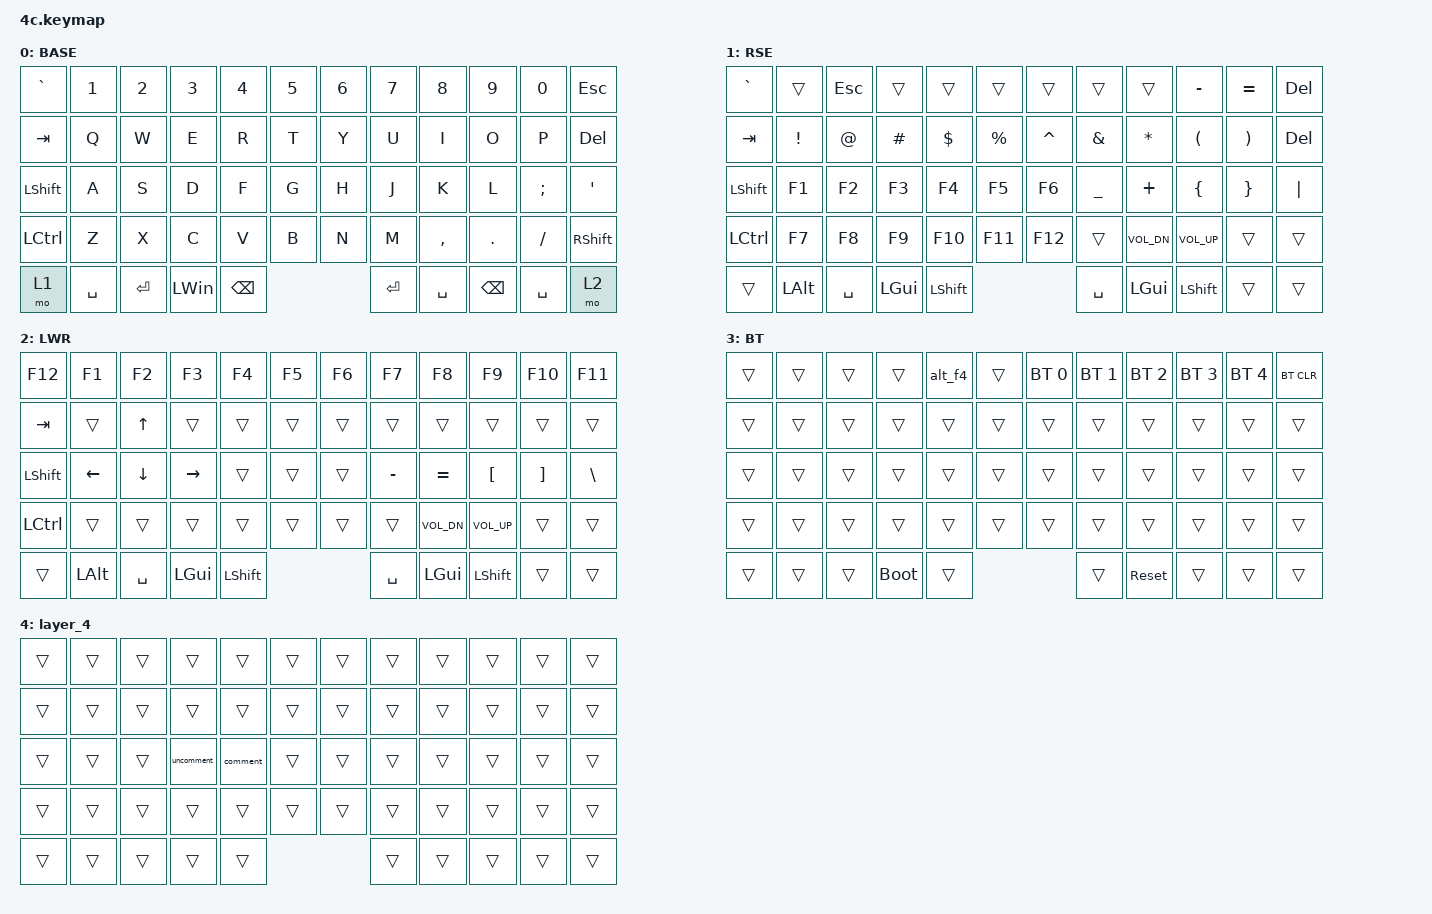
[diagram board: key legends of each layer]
/*
 * Copyright (c) 2020 The ZMK Contributors
 *
 * SPDX-License-Identifier: MIT
 */
/* THIS FILE WAS GENERATED!
 *
 * This file was generated automatically. You may or may not want to
 * edit it directly.
 */

#include <behaviors.dtsi>
#include <dt-bindings/zmk/bt.h>
#include <dt-bindings/zmk/keys.h>

/ {
    combos {
        compatible = "zmk,combos";

        btMo {
            bindings = <&mo 3>;
            key-positions = <56 57>;
        };

        new_combo {
            bindings = <&mo 4>;
            key-positions = <48 49>;
        };
    };

    macros {
        codeFence: codeFence {
            compatible = "zmk,behavior-macro";
            label = "new_macro";
            #binding-cells = <0>;
            bindings =
                <&kp GRAVE &kp GRAVE &kp GRAVE &kp RET &kp RET &kp GRAVE &kp GRAVE &kp GRAVE &kp UP>,
                <&macro_press>;
        };
        alt_f4: alt_f4 {
            compatible = "zmk,behavior-macro";
            label = "ALT_F4";
            #binding-cells = <0>;
            bindings = <&kp LALT &kp F4>;
        };
        comment: comment {
            compatible = "zmk,behavior-macro";
            label = "COMMENT";
            #binding-cells = <0>;
            bindings = <&kp LEFT_CONTROL &kp K &kp C>;
        };
        uncomment: uncomment {
            compatible = "zmk,behavior-macro";
            label = "UNCOMMENT";
            #binding-cells = <0>;
            bindings = <&kp LEFT_CONTROL &kp K &kp C>;
        };
    };

    keymap {
        compatible = "zmk,keymap";

        BASE {
            bindings = <
     &kp GRAVE  &kp NUMBER_1  &kp NUMBER_2  &kp NUMBER_3   &kp NUMBER_4  &kp NUMBER_5    &kp NUMBER_6  &kp NUMBER_7  &kp NUMBER_8   &kp NUMBER_9  &kp NUMBER_0          &kp ESC
       &kp TAB         &kp Q         &kp W         &kp E          &kp R         &kp T           &kp Y         &kp U         &kp I          &kp O         &kp P          &kp DEL
&kp LEFT_SHIFT         &kp A         &kp S         &kp D          &kp F         &kp G           &kp H         &kp J         &kp K          &kp L      &kp SEMI         &kp APOS
     &kp LCTRL         &kp Z         &kp X         &kp C          &kp V         &kp B           &kp N         &kp M     &kp COMMA     &kp PERIOD     &kp SLASH  &kp RIGHT_SHIFT
         &mo 1     &kp SPACE     &kp ENTER  &kp LEFT_WIN  &kp BACKSPACE                                   &kp ENTER     &kp SPACE  &kp BACKSPACE     &kp SPACE            &mo 2
            >;
        };

        RSE {
            bindings = <
     &kp GRAVE           &trans  &kp ESCAPE        &trans          &trans       &trans       &trans          &trans        &trans             &kp MINUS              &kp EQUAL  &kp DELETE
       &kp TAB  &kp EXCLAMATION      &kp AT      &kp HASH      &kp DOLLAR  &kp PERCENT    &kp CARET   &kp AMPERSAND  &kp ASTERISK  &kp LEFT_PARENTHESIS  &kp RIGHT_PARENTHESIS     &kp DEL
&kp LEFT_SHIFT           &kp F1      &kp F2        &kp F3          &kp F4       &kp F5       &kp F6  &kp UNDERSCORE      &kp PLUS        &kp LEFT_BRACE        &kp RIGHT_BRACE    &kp PIPE
     &kp LCTRL           &kp F7      &kp F8        &kp F9         &kp F10      &kp F11      &kp F12          &trans  &kp C_VOL_DN          &kp C_VOL_UP                 &trans      &trans
        &trans     &kp LEFT_ALT   &kp SPACE  &kp LEFT_GUI  &kp LEFT_SHIFT                                 &kp SPACE  &kp LEFT_GUI        &kp LEFT_SHIFT                 &trans      &trans
            >;
        };

        LWR {
            bindings = <
       &kp F12          &kp F1          &kp F2           &kp F3          &kp F4  &kp F5    &kp F6     &kp F7        &kp F8            &kp F9            &kp F10        &kp F11
       &kp TAB          &trans    &kp UP_ARROW           &trans          &trans  &trans    &trans     &trans        &trans            &trans             &trans         &trans
&kp LEFT_SHIFT  &kp LEFT_ARROW  &kp DOWN_ARROW  &kp RIGHT_ARROW          &trans  &trans    &trans  &kp MINUS     &kp EQUAL  &kp LEFT_BRACKET  &kp RIGHT_BRACKET  &kp BACKSLASH
     &kp LCTRL          &trans          &trans           &trans          &trans  &trans    &trans     &trans  &kp C_VOL_DN      &kp C_VOL_UP             &trans         &trans
        &trans    &kp LEFT_ALT       &kp SPACE     &kp LEFT_GUI  &kp LEFT_SHIFT                    &kp SPACE  &kp LEFT_GUI    &kp LEFT_SHIFT             &trans         &trans
            >;
        };

        BT {
            bindings = <
&trans  &trans  &trans       &trans  &alt_f4  &trans    &bt BT_SEL 0  &bt BT_SEL 1  &bt BT_SEL 2  &bt BT_SEL 3  &bt BT_SEL 4  &bt BT_CLR
&trans  &trans  &trans       &trans   &trans  &trans          &trans        &trans        &trans        &trans        &trans      &trans
&trans  &trans  &trans       &trans   &trans  &trans          &trans        &trans        &trans        &trans        &trans      &trans
&trans  &trans  &trans       &trans   &trans  &trans          &trans        &trans        &trans        &trans        &trans      &trans
&trans  &trans  &trans  &bootloader   &trans                                &trans    &sys_reset        &trans        &trans      &trans
            >;
        };

        layer_4 {
            bindings = <
&trans  &trans  &trans      &trans    &trans  &trans    &trans  &trans  &trans  &trans  &trans  &trans
&trans  &trans  &trans      &trans    &trans  &trans    &trans  &trans  &trans  &trans  &trans  &trans
&trans  &trans  &trans  &uncomment  &comment  &trans    &trans  &trans  &trans  &trans  &trans  &trans
&trans  &trans  &trans      &trans    &trans  &trans    &trans  &trans  &trans  &trans  &trans  &trans
&trans  &trans  &trans      &trans    &trans                    &trans  &trans  &trans  &trans  &trans
            >;
        };
    };
};
